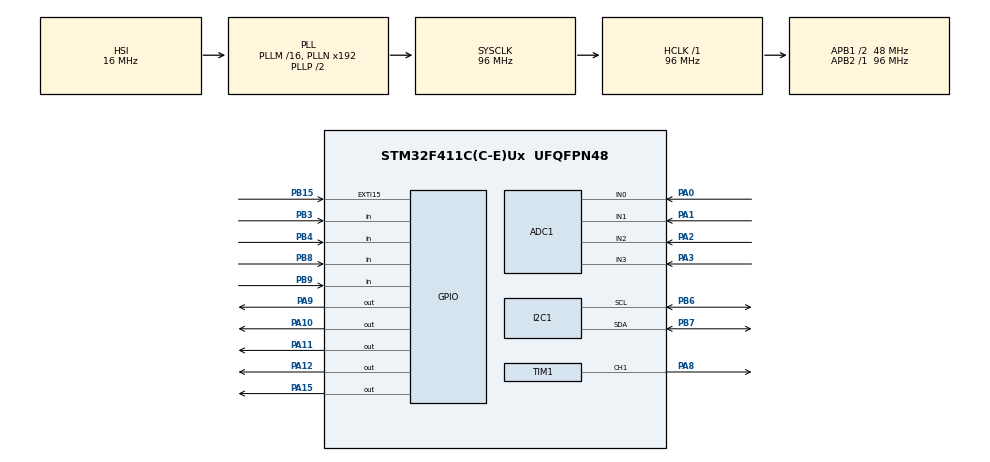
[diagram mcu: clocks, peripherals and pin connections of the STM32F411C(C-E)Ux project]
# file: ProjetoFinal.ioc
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ADC1.Channel-0\#ChannelRegularConversion=ADC_CHANNEL_0
ADC1.NbrOfConversionFlag=1
ADC1.Rank-0\#ChannelRegularConversion=1
ADC1.SamplingTime-0\#ChannelRegularConversion=ADC_SAMPLETIME_3CYCLES
ADC1.master=1
I2C1.I2C_Mode=I2C_Fast
Mcu.Family=STM32F4
Mcu.Name=STM32F411C(C-E)Ux
Mcu.Package=UFQFPN48
NVIC.EXTI15_10_IRQn=true\:0\:0\:false\:false\:true\:true\:true\:true
NVIC.PriorityGroup=NVIC_PRIORITYGROUP_4
NVIC.TIM2_IRQn=true\:0\:0\:false\:false\:true\:true\:true\:true
NVIC.TIM3_IRQn=true\:0\:0\:false\:false\:true\:true\:true\:true
NVIC.TIM4_IRQn=true\:0\:0\:false\:false\:true\:true\:true\:true
PA0-WKUP.Signal=ADCx_IN0
PA1.Signal=ADCx_IN1
PA10.Signal=GPIO_Output
PA11.Signal=GPIO_Output
PA12.Signal=GPIO_Output
PA13.Mode=Serial_Wire
PA13.Signal=SYS_JTMS-SWDIO
PA14.Mode=Serial_Wire
PA14.Signal=SYS_JTCK-SWCLK
PA15.GPIO_PuPd=GPIO_NOPULL
PA15.Signal=GPIO_Output
PA2.Signal=ADCx_IN2
PA3.Signal=ADCx_IN3
PA8.Signal=S_TIM1_CH1
PA9.Signal=GPIO_Output
PB15.GPIO_ModeDefaultEXTI=GPIO_MODE_IT_FALLING
PB15.GPIO_PuPd=GPIO_PULLUP
PB15.Signal=GPXTI15
PB3.Signal=GPIO_Input
PB4.Signal=GPIO_Input
PB6.Mode=I2C
PB6.Signal=I2C1_SCL
PB7.Mode=I2C
PB7.Signal=I2C1_SDA
PB8.Signal=GPIO_Input
PB9.Signal=GPIO_Input
PC14-OSC32_IN.Mode=LSE-External-Oscillator
PC14-OSC32_IN.Signal=RCC_OSC32_IN
PC15-OSC32_OUT.Mode=LSE-External-Oscillator
PC15-OSC32_OUT.Signal=RCC_OSC32_OUT
PH0\ -\ OSC_IN.Mode=HSE-External-Oscillator
PH0\ -\ OSC_IN.Signal=RCC_OSC_IN
PH1\ -\ OSC_OUT.Mode=HSE-External-Oscillator
PH1\ -\ OSC_OUT.Signal=RCC_OSC_OUT
ProjectManager.HeapSize=0x200
ProjectManager.StackSize=0x400
ProjectManager.TargetToolchain=STM32CubeIDE
RCC.AHBFreq_Value=96000000
RCC.APB1CLKDivider=RCC_HCLK_DIV2
RCC.APB1Freq_Value=48000000
RCC.APB1TimFreq_Value=96000000
RCC.APB2Freq_Value=96000000
RCC.APB2TimFreq_Value=96000000
RCC.CortexFreq_Value=96000000
RCC.HCLKFreq_Value=96000000
RCC.HSE_VALUE=25000000
RCC.HSI_VALUE=16000000
RCC.SYSCLKFreq_VALUE=96000000
RCC.SYSCLKSource=RCC_SYSCLKSOURCE_PLLCLK
RCC.VCOOutputFreq_Value=192000000
SH.ADCx_IN0.0=ADC1_IN0,IN0
SH.ADCx_IN1.0=ADC1_IN1,IN1
SH.ADCx_IN2.0=ADC1_IN2,IN2
SH.ADCx_IN3.0=ADC1_IN3,IN3
SH.S_TIM1_CH1.0=TIM1_CH1,PWM Generation1 CH1
TIM1.Channel-PWM\ Generation1\ CH1=TIM_CHANNEL_1
TIM1.Period=4570
TIM1.Pulse-PWM\ Generation1\ CH1=1830
TIM2.Period=20000-1
TIM2.Prescaler=9600-1
TIM3.Period=5000-1
TIM3.Prescaler=9600-1
TIM4.Period=1000-1
TIM4.Prescaler=9600-1
VP_TIM1_VS_ClockSourceINT.Mode=Internal
VP_TIM2_VS_ClockSourceINT.Mode=Internal
VP_TIM3_VS_ClockSourceINT.Mode=Internal
VP_TIM4_VS_ClockSourceINT.Mode=Internal
board=custom

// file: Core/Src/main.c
/* USER CODE BEGIN Header */
/**
  ******************************************************************************
  * @file           : main.c
  * @brief          : Main program body
  ******************************************************************************
  * @attention
  *
  * Copyright (c) 2025 STMicroelectronics.
  * All rights reserved.
  *
  * This software is licensed under terms that can be found in the LICENSE file
  * in the root directory of this software component.
  * If no LICENSE file comes with this software, it is provided AS-IS.
  *
  ******************************************************************************
  */
/* USER CODE END Header */
#include "main.h"

/* USER CODE BEGIN Includes */
#include "liquidcrystal_i2c.h"
#include <stdio.h>
#include <math.h>
/* USER CODE END Includes */

/* USER CODE BEGIN PD */
#define RESISTENCIA_CARGA_OHMS  270

// Limites de Proteção de Tensão (ANSI 27/59)
#define LIMITE_SUBTENSAO    380 // kV
#define LIMITE_SOBRETENSAO  630 // kV

#define ESTADO_DISJUNTOR_FECHADO 1
#define ESTADO_DISJUNTOR_ABERTO  0

// Máquina de Estados (Telas)
#define TELA_MENU        0
#define TELA_ELETRICA    1
#define TELA_CUBICULO    2
#define TELA_TEMP        3
#define TELA_GAS         4
#define TELA_POTENCIA    5
#define TELA_ALERTA      6
/* USER CODE END PD */

ADC_HandleTypeDef hadc1;

I2C_HandleTypeDef hi2c1;

TIM_HandleTypeDef htim1;
TIM_HandleTypeDef htim2;
TIM_HandleTypeDef htim3;
TIM_HandleTypeDef htim4;

/* USER CODE BEGIN PV */
// --- Variáveis de Leitura Crua (ADC) ---
uint32_t raw_gas = 0;
uint32_t raw_umidade = 0;
uint32_t raw_temp_amb = 0;
uint32_t raw_tensao = 0;

// --- Variáveis Convertidas (Grandezas Físicas) ---
uint32_t nivel_gas = 0;       // 0-100%
uint32_t umidade_cub = 0;     // 0-100%
uint32_t tensao_fase = 0;     // kV
uint32_t tensao_linha = 0;    // kV
uint32_t corrente_linha = 0;  // A
uint32_t temperatura_ambiente = 25; //ºC
uint32_t fator_potencia = 92;
uint32_t temperatura_trans = 0; //ºC

// --- Variáveis de Potência ---
uint32_t potencia_aparente = 0; // kVA
uint32_t potencia_ativa = 0;    // kW
uint32_t potencia_reativa = 0;  // kVAr

// --- Variáveis de Controle e Estado ---
uint32_t temperatura_alvo = 0;
uint32_t intensidade_aquecedor = 0;
uint32_t tempo_anterior_led = 0;

uint8_t estado_reserva = 0; // 0 = Normal, 1 = Reserva (Falha Trafo)
uint8_t timer_rodando = 0;
uint8_t pode_rearmar = 1;
uint8_t status_disjuntor = ESTADO_DISJUNTOR_FECHADO;
uint8_t status_tensao = 0; // 0=OK, 1=Sub, 2=Sobre

// --- Variáveis de Interface (LCD/Botões) ---
char lcd_buffer[16];
char buffer_temp[16]; // Buffer auxiliar para LCD
uint32_t timer_lcd = 0;
uint8_t flag_atualizar_lcd = 0;

int8_t menu_index = 0;
uint8_t tela_atual = TELA_MENU;
uint8_t flag_atualizar_tela = 1;

// Textos do Menu Principal
char textos_menu[5][17] = {
    "1. Eletrica     ",
    "2. Cubiculo     ",
    "3. Temperatura  ",
    "4. Gas          ",
    "5. Potencias     "
};

/* USER CODE END PV */

void SystemClock_Config(void);
static void MX_GPIO_Init(void);
static void MX_ADC1_Init(void);
static void MX_I2C1_Init(void);
static void MX_TIM1_Init(void);
static void MX_TIM2_Init(void);
static void MX_TIM3_Init(void);
static void MX_TIM4_Init(void);
/* USER CODE BEGIN PFP */
uint32_t Ler_ADC_Canal(uint32_t canal);
uint32_t Calcular_Corrente_Estrela(uint32_t tensao_kV);
/* USER CODE END PFP */

int main(void)
{

  /* MCU Configuration--------------------------------------------------------*/

  /* Reset of all peripherals, Initializes the Flash interface and the Systick. */
  HAL_Init();

  /* Configure the system clock */
  SystemClock_Config();

  /* Initialize all configured peripherals */
  MX_GPIO_Init();
  MX_ADC1_Init();
  MX_I2C1_Init();
  MX_TIM1_Init();
  MX_TIM2_Init();
  MX_TIM3_Init();
  MX_TIM4_Init();
  /* USER CODE BEGIN 2 */
  // Inicialização de Pinos de Estado
    HAL_GPIO_WritePin(GPIOA, GPIO_PIN_11, GPIO_PIN_SET);   // A11 Ligado (Normal)
    HAL_GPIO_WritePin(GPIOA, GPIO_PIN_10, GPIO_PIN_RESET); // A10 Desligado (Reserva)
    estado_reserva = 0;

    // Inicialização do Disjuntor (PA9)
    HAL_GPIO_WritePin(GPIOA, GPIO_PIN_9, GPIO_PIN_SET); // LED Aceso = Fechado
    status_disjuntor = ESTADO_DISJUNTOR_FECHADO;

    // Inicialização de Timers
    HAL_TIM_PWM_Start(&htim1, TIM_CHANNEL_1);
    HAL_TIM_Base_Start_IT(&htim3);
    MX_TIM4_Init();
    HAL_TIM_Base_Start_IT(&htim4);

    // Inicialização do LCD
    HD44780_Init(2);
    HD44780_Clear();
  /* USER CODE END 2 */

  /* Infinite loop */
  /* USER CODE BEGIN WHILE */
  while (1)
  {
	  // BLOCO 1: LEITURA DE SENSORES (ADC)
	        // Leitura de Gás
	        raw_gas = Ler_ADC_Canal(ADC_CHANNEL_0);
	        if (raw_gas < 30) raw_gas = 30;

	        // Leitura de Umidade
	        raw_umidade = Ler_ADC_Canal(ADC_CHANNEL_1);
	        if (raw_umidade < 30) raw_umidade = 30;

	        // Leitura de Fator de Potência (Simulado)
	        raw_temp_amb = Ler_ADC_Canal(ADC_CHANNEL_2);
	        if (raw_temp_amb < 30) raw_temp_amb = 30;

	        // Leitura de Tensão (Simulação de TP)
	        raw_tensao = Ler_ADC_Canal(ADC_CHANNEL_3);
	        if (raw_tensao < 30) raw_tensao = 30;

	        HAL_Delay(10); // Estabilização do ADC

	  // BLOCO 2: CONVERSÃO DE GRANDEZAS E CÁLCULOS MATEMÁTICOS
	        // Conversões Lineares (Reta)
	        nivel_gas = ((raw_gas - 30) * 100) / 4030;
	        umidade_cub = ((raw_umidade - 30) * 100) / 4030;
	        temperatura_ambiente = (((raw_temp_amb - 30) * 55) / 4030) + 10;

	        // Cálculos do Sistema Elétrico
	        tensao_fase = (((raw_tensao - 30) * 362) / 4030) + 80; // 80 a 442 kV
	        tensao_linha = (tensao_fase * 1732) / 1000;            // kV
	        corrente_linha = Calcular_Corrente_Estrela(tensao_fase); // A

	        // Modelo Térmico (Imagem Térmica do Trafo)
	        temperatura_alvo = (temperatura_ambiente * 2/3) + (corrente_linha/20);
	        if (temperatura_alvo > 150) temperatura_alvo = 150;

	        // Triângulo de Potências
	        uint64_t s_calc = (uint64_t)tensao_linha * corrente_linha * 1732;
	        potencia_aparente = (uint32_t)(s_calc / 1000000); // MVA

	        potencia_ativa = (potencia_aparente * fator_potencia) / 100; // MW

	        double s_sq = (double)potencia_aparente * (double)potencia_aparente;
	        double p_sq = (double)potencia_ativa * (double)potencia_ativa;
	        if (p_sq > s_sq) p_sq = s_sq;
	        potencia_reativa = (uint32_t)sqrt(s_sq - p_sq); // MVAr

	        // Cálculo de Controle do Aquecedor (PWM)
	        if (umidade_cub <= 30) intensidade_aquecedor = 0;
	        else intensidade_aquecedor = (((umidade_cub - 30) * 100) / 70);

	  // BLOCO 3: LÓGICA DE PROTEÇÃO (MONITORAMENTO)

	        // Monitoramento de Tensão (ANSI 27/59)
	        if (tensao_linha < LIMITE_SUBTENSAO) status_tensao = 1;      // Subtensão
	        else if (tensao_linha > LIMITE_SOBRETENSAO) status_tensao = 2; // Sobretensão
	        else status_tensao = 0;                                      // Normal

	        // Lógica de Falha no Transformador (Gerenciada pelo TIM2 e Interrupt)
	        if (estado_reserva == 0)
	        {
	        if (temperatura_trans > 93 || status_tensao != 0) {
	               if (timer_rodando == 0) {
	                      HAL_TIM_Base_Start_IT(&htim2);
	                      timer_rodando = 1;
	                  }
	               } else {
	               if (timer_rodando == 1) {
	                     HAL_TIM_Base_Stop_IT(&htim2);
	                   __HAL_TIM_SET_COUNTER(&htim2, 0);
	                     timer_rodando = 0;
	                }
	              }
	            }
	              else // Estado Reserva
	              {
	            if (temperatura_trans < 93 && status_tensao == 0) {
	                if (pode_rearmar == 0 && timer_rodando == 0) {
	                HAL_TIM_Base_Start_IT(&htim2);
	                timer_rodando = 1;
	                 }
	               } else {
	               if (timer_rodando == 1) {
	               HAL_TIM_Base_Stop_IT(&htim2);
	             __HAL_TIM_SET_COUNTER(&htim2, 0);
	               timer_rodando = 0;
	               }
	               pode_rearmar = 0;
	             }
	        }

	        //Alarme de alerta para subcorrente ou sobrecorrente
	        if(corrente_linha < 812 || corrente_linha > 1347){
	        	uint32_t tempo_atual = HAL_GetTick();
	        	if ((tempo_atual - tempo_anterior_led) >= 250)
	        	{
	        		HAL_GPIO_TogglePin(GPIOA, GPIO_PIN_12);
	        		tempo_anterior_led = tempo_atual;
	        	}
	        	}else if(corrente_linha < 962 || corrente_linha > 1176){
	        		HAL_GPIO_WritePin(GPIOA, GPIO_PIN_12, GPIO_PIN_SET);
	        }else
	          {
	           HAL_GPIO_WritePin(GPIOA, GPIO_PIN_12, GPIO_PIN_RESET);
	        }

	  // BLOCO 4: CONTROLE DO DISJUNTOR (ANSI 52)

	      // Lógica de Trip (Abertura)
	        if (estado_reserva == 1)
	              {
	                  if (status_disjuntor == ESTADO_DISJUNTOR_FECHADO)
	                  {
	                      HAL_GPIO_WritePin(GPIOA, GPIO_PIN_9, GPIO_PIN_RESET);
	                      status_disjuntor = ESTADO_DISJUNTOR_ABERTO;
	                      // Zera as correntes e potências (Corte de energia)
	                      corrente_linha = 0;
	                      potencia_aparente = 0;
	                      potencia_ativa = 0;
	                      potencia_reativa = 0;
	                  }}
	      // Lógica de Close (Fechamento/Rearme)
	        if (pode_rearmar == 1 && status_tensao == 0)
	              {
	                   // Verifica Botão de Rearme (PB3)
	                   if (!HAL_GPIO_ReadPin(GPIOB, GPIO_PIN_3))
	                   {
	                        estado_reserva = 0;
	                        HAL_GPIO_WritePin(GPIOA, GPIO_PIN_10, GPIO_PIN_RESET);
	                        HAL_GPIO_WritePin(GPIOA, GPIO_PIN_11, GPIO_PIN_SET);
	                        HAL_GPIO_WritePin(GPIOA, GPIO_PIN_9, GPIO_PIN_SET);
	                        status_disjuntor = ESTADO_DISJUNTOR_FECHADO;
	                        HAL_Delay(500);
	                   }}

	      // Força medidas a zero se disjuntor estiver aberto
	       if (status_disjuntor == ESTADO_DISJUNTOR_ABERTO)
	      {
	      corrente_linha = 0;
	      }

	  // BLOCO 5: INTERFACE HOMEM-MÁQUINA (IHM/BOTÕES)

	      // Transição Automática de Tela em Caso de Emergência
	      if (estado_reserva == 1 && tela_atual != TELA_ALERTA){
	       tela_atual = TELA_ALERTA;
	       flag_atualizar_tela = 1;	      }
	       else if (estado_reserva == 0 && tela_atual == TELA_ALERTA){
	       tela_atual = TELA_MENU;
	       flag_atualizar_tela = 1;	      }

	       // Navegação Manual (B4 - Próximo)
	       if (!HAL_GPIO_ReadPin(GPIOB, GPIO_PIN_4)){
	       if (tela_atual == TELA_MENU){
	        menu_index++;
	        if (menu_index > 4) menu_index = 0;
	        flag_atualizar_tela = 1;	        }
	         HAL_Delay(200);	        }

	       // Confirmação (B8 - Entrar)
	       if (!HAL_GPIO_ReadPin(GPIOB, GPIO_PIN_8)){
	       if (tela_atual == TELA_MENU){
	       tela_atual = menu_index + 1;
	       flag_atualizar_tela = 1;	       }
	       HAL_Delay(200);	       }

	       // Retorno (B9 - Voltar)
	       if (!HAL_GPIO_ReadPin(GPIOB, GPIO_PIN_9)){
	       if (tela_atual != TELA_MENU && tela_atual != TELA_ALERTA){
	        tela_atual = TELA_MENU;
	        flag_atualizar_tela = 1;	       }
	       HAL_Delay(200);	      }

	  // BLOCO 6: ATUALIZAÇÃO DO DISPLAY LCD

	       if (flag_atualizar_tela == 1 || (flag_atualizar_lcd == 1 && tela_atual != TELA_MENU))
	             {
	                 if (flag_atualizar_tela == 1) HD44780_Clear();

	                 switch (tela_atual)
	                 {
	                     // --- TELA 0: MENU PRINCIPAL ---
	                     case TELA_MENU:
	                          HD44780_SetCursor(0,0);
	                          HD44780_PrintStr("MENU PRINCIPAL: ");
	                          HD44780_SetCursor(0,1);
	                          HD44780_PrintStr(textos_menu[menu_index]);
	                          break;

	                     // --- TELA 1: ELÉTRICA (V e I) ---
	                     case TELA_ELETRICA:
	                          // Prioridade 1: Disjuntor Aberto (TRIP)
	                          if (status_disjuntor == ESTADO_DISJUNTOR_ABERTO)
	                          {
	                              HD44780_SetCursor(0,0);
	                              HD44780_PrintStr("STATUS: TRIP !!!");
	                              HD44780_SetCursor(0,1);
	                              HD44780_PrintStr("DISJUNTOR ABERTO");
	                          }
	                          // Prioridade 2: Erro de Tensão (Sub/Sobretensão)
	                          else if (status_tensao != 0)
	                          {
	                              HD44780_SetCursor(0,0);
	                              HD44780_PrintStr("FALHA TENSAO !  ");
	                              HD44780_SetCursor(0,1);
	                              if(status_tensao == 1) HD44780_PrintStr("SUB-TENSAO      ");
	                              else HD44780_PrintStr("SOBRE-TENSAO    ");
	                          }
	                          // Prioridade 3: Sistema Normal (Mostra V e I fixos)
	                          else
	                          {
	                              sprintf(lcd_buffer, "V:%lukV I:%luA  ", tensao_linha, corrente_linha);
	                              HD44780_SetCursor(0,0);
	                              HD44780_PrintStr("MONIT. ELETRICA ");
	                              HD44780_SetCursor(0,1);
	                              HD44780_PrintStr(lcd_buffer);
	                          }
	                          break;

	                     // --- TELA 2: CUBÍCULO (Umidade + Aquecedor) ---
	                     case TELA_CUBICULO:
	                          sprintf(lcd_buffer, "Umid:%lu%% Pot:%lu%%", umidade_cub, intensidade_aquecedor);
	                          HD44780_SetCursor(0,0);
	                          HD44780_PrintStr("MONIT. CUBICULO ");
	                          HD44780_SetCursor(0,1);
	                          HD44780_PrintStr(lcd_buffer);
	                          break;

	                     // --- TELA 3: TEMPERATURA ---
	                     case TELA_TEMP:
	                          sprintf(lcd_buffer, "Temp T: %lu C    ", temperatura_trans);
	                          HD44780_SetCursor(0,0);
	                          HD44780_PrintStr(lcd_buffer);
	                          HD44780_SetCursor(0,1);
	                          if(estado_reserva == 0) HD44780_PrintStr("Status: NORMAL  ");
	                          else HD44780_PrintStr("Status: RESERVA ");
	                          break;

	                     // --- TELA 4: GÁS SF6 ---
	                     case TELA_GAS:
	                          sprintf(lcd_buffer, "Nivel: %lu %%     ", nivel_gas);
	                          HD44780_SetCursor(0,0);
	                          HD44780_PrintStr("MONIT. GAS SF6  ");
	                          HD44780_SetCursor(0,1);
	                          HD44780_PrintStr(lcd_buffer);
	                          break;

	                     // --- TELA 5: POTÊNCIAS ---
	                     case TELA_POTENCIA:
	                          sprintf(lcd_buffer, "P:%luM Q:%luM   ", potencia_ativa, potencia_reativa);
	                          HD44780_SetCursor(0,0);
	                          HD44780_PrintStr(lcd_buffer);

	                          sprintf(lcd_buffer, "S:%luMVA FP:%lu ", potencia_aparente, fator_potencia);
	                          HD44780_SetCursor(0,1);
	                          HD44780_PrintStr(lcd_buffer);
	                          break;

	                     // --- TELA 6: ALERTA CRÍTICO ---
	                     case TELA_ALERTA:
	                          HD44780_SetCursor(0,0);
	                          HD44780_PrintStr("! FALHA TRAFO ! ");
	                          HD44780_SetCursor(0,1);
	                          HD44780_PrintStr("OPERANDO RESERVA");
	                          break;
	                 }

	                 flag_atualizar_tela = 0;
	                 flag_atualizar_lcd = 0;
	             }

	 // BLOCO 7: ATUAÇÃO DE SAÍDAS AUXILIARES

	      // Controle de LEDs de Alerta de Gás
	      if(nivel_gas < 10)
	      {
	      uint32_t tempo_atual = HAL_GetTick();
	      if ((tempo_atual - tempo_anterior_led) >= 250)
	      {
	      HAL_GPIO_TogglePin(GPIOA, GPIO_PIN_15);
	      tempo_anterior_led = tempo_atual;
	      }
	      } else if(nivel_gas < 25)
	      {
	      HAL_GPIO_WritePin(GPIOA, GPIO_PIN_15, GPIO_PIN_SET);
	      } else
	             {
	                 HAL_GPIO_WritePin(GPIOA, GPIO_PIN_15, GPIO_PIN_RESET);
	             }

	       // Controle do Aquecedor (PWM)
	       if(umidade_cub > 30)
	       {
	        htim1.Instance->CCR1 = (htim1.Instance->ARR*intensidade_aquecedor)/100;
	        }
	        else
	       {
	        htim1.Instance->CCR1 = 0;
	       }

    /* USER CODE END WHILE */

  }
}

void SystemClock_Config(void)
{
  RCC_OscInitTypeDef RCC_OscInitStruct = {0};
  RCC_ClkInitTypeDef RCC_ClkInitStruct = {0};

  /** Configure the main internal regulator output voltage
  */
  __HAL_RCC_PWR_CLK_ENABLE();
  __HAL_PWR_VOLTAGESCALING_CONFIG(PWR_REGULATOR_VOLTAGE_SCALE1);

  /** Initializes the RCC Oscillators according to the specified parameters
  * in the RCC_OscInitTypeDef structure.
  */
  RCC_OscInitStruct.OscillatorType = RCC_OSCILLATORTYPE_HSI;
  RCC_OscInitStruct.HSIState = RCC_HSI_ON;
  RCC_OscInitStruct.HSICalibrationValue = RCC_HSICALIBRATION_DEFAULT;
  RCC_OscInitStruct.PLL.PLLState = RCC_PLL_ON;
  RCC_OscInitStruct.PLL.PLLSource = RCC_PLLSOURCE_HSI;
  RCC_OscInitStruct.PLL.PLLM = 16;
  RCC_OscInitStruct.PLL.PLLN = 192;
  RCC_OscInitStruct.PLL.PLLP = RCC_PLLP_DIV2;
  RCC_OscInitStruct.PLL.PLLQ = 4;
  if (HAL_RCC_OscConfig(&RCC_OscInitStruct) != HAL_OK)
  {
    Error_Handler();
  }

  /** Initializes the CPU, AHB and APB buses clocks
  */
  RCC_ClkInitStruct.ClockType = RCC_CLOCKTYPE_HCLK|RCC_CLOCKTYPE_SYSCLK
                              |RCC_CLOCKTYPE_PCLK1|RCC_CLOCKTYPE_PCLK2;
  RCC_ClkInitStruct.SYSCLKSource = RCC_SYSCLKSOURCE_PLLCLK;
  RCC_ClkInitStruct.AHBCLKDivider = RCC_SYSCLK_DIV1;
  RCC_ClkInitStruct.APB1CLKDivider = RCC_HCLK_DIV2;
  RCC_ClkInitStruct.APB2CLKDivider = RCC_HCLK_DIV1;

  if (HAL_RCC_ClockConfig(&RCC_ClkInitStruct, FLASH_LATENCY_3) != HAL_OK)
  {
    Error_Handler();
  }
}

static void MX_ADC1_Init(void)
{

  ADC_ChannelConfTypeDef sConfig = {0};

  /** Configure the global features of the ADC (Clock, Resolution, Data Alignment and number of conversion)
  */
  hadc1.Instance = ADC1;
  hadc1.Init.ClockPrescaler = ADC_CLOCK_SYNC_PCLK_DIV4;
  hadc1.Init.Resolution = ADC_RESOLUTION_12B;
  hadc1.Init.ScanConvMode = DISABLE;
  hadc1.Init.ContinuousConvMode = DISABLE;
  hadc1.Init.DiscontinuousConvMode = DISABLE;
  hadc1.Init.ExternalTrigConvEdge = ADC_EXTERNALTRIGCONVEDGE_NONE;
  hadc1.Init.ExternalTrigConv = ADC_SOFTWARE_START;
  hadc1.Init.DataAlign = ADC_DATAALIGN_RIGHT;
  hadc1.Init.NbrOfConversion = 1;
  hadc1.Init.DMAContinuousRequests = DISABLE;
  hadc1.Init.EOCSelection = ADC_EOC_SINGLE_CONV;
  if (HAL_ADC_Init(&hadc1) != HAL_OK)
  {
    Error_Handler();
  }

  /** Configure for the selected ADC regular channel its corresponding rank in the sequencer and its sample time.
  */
  sConfig.Channel = ADC_CHANNEL_0;
  sConfig.Rank = 1;
  sConfig.SamplingTime = ADC_SAMPLETIME_3CYCLES;
  if (HAL_ADC_ConfigChannel(&hadc1, &sConfig) != HAL_OK)
  {
    Error_Handler();
  }

}

static void MX_I2C1_Init(void)
{

  hi2c1.Instance = I2C1;
  hi2c1.Init.ClockSpeed = 400000;
  hi2c1.Init.DutyCycle = I2C_DUTYCYCLE_2;
  hi2c1.Init.OwnAddress1 = 0;
  hi2c1.Init.AddressingMode = I2C_ADDRESSINGMODE_7BIT;
  hi2c1.Init.DualAddressMode = I2C_DUALADDRESS_DISABLE;
  hi2c1.Init.OwnAddress2 = 0;
  hi2c1.Init.GeneralCallMode = I2C_GENERALCALL_DISABLE;
  hi2c1.Init.NoStretchMode = I2C_NOSTRETCH_DISABLE;
  if (HAL_I2C_Init(&hi2c1) != HAL_OK)
  {
    Error_Handler();
  }

}

static void MX_TIM1_Init(void)
{

  TIM_ClockConfigTypeDef sClockSourceConfig = {0};
  TIM_MasterConfigTypeDef sMasterConfig = {0};
  TIM_OC_InitTypeDef sConfigOC = {0};
  TIM_BreakDeadTimeConfigTypeDef sBreakDeadTimeConfig = {0};

  htim1.Instance = TIM1;
  htim1.Init.Prescaler = 0;
  htim1.Init.CounterMode = TIM_COUNTERMODE_UP;
  htim1.Init.Period = 4570;
  htim1.Init.ClockDivision = TIM_CLOCKDIVISION_DIV1;
  htim1.Init.RepetitionCounter = 0;
  htim1.Init.AutoReloadPreload = TIM_AUTORELOAD_PRELOAD_DISABLE;
  if (HAL_TIM_Base_Init(&htim1) != HAL_OK)
  {
    Error_Handler();
  }
  sClockSourceConfig.ClockSource = TIM_CLOCKSOURCE_INTERNAL;
  if (HAL_TIM_ConfigClockSource(&htim1, &sClockSourceConfig) != HAL_OK)
  {
    Error_Handler();
  }
  if (HAL_TIM_PWM_Init(&htim1) != HAL_OK)
  {
    Error_Handler();
  }
  sMasterConfig.MasterOutputTrigger = TIM_TRGO_RESET;
  sMasterConfig.MasterSlaveMode = TIM_MASTERSLAVEMODE_DISABLE;
  if (HAL_TIMEx_MasterConfigSynchronization(&htim1, &sMasterConfig) != HAL_OK)
  {
    Error_Handler();
  }
  sConfigOC.OCMode = TIM_OCMODE_PWM1;
  sConfigOC.Pulse = 1830;
  sConfigOC.OCPolarity = TIM_OCPOLARITY_HIGH;
  sConfigOC.OCNPolarity = TIM_OCNPOLARITY_HIGH;
  sConfigOC.OCFastMode = TIM_OCFAST_DISABLE;
  sConfigOC.OCIdleState = TIM_OCIDLESTATE_RESET;
  sConfigOC.OCNIdleState = TIM_OCNIDLESTATE_RESET;
  if (HAL_TIM_PWM_ConfigChannel(&htim1, &sConfigOC, TIM_CHANNEL_1) != HAL_OK)
  {
    Error_Handler();
  }
  sBreakDeadTimeConfig.OffStateRunMode = TIM_OSSR_DISABLE;
  sBreakDeadTimeConfig.OffStateIDLEMode = TIM_OSSI_DISABLE;
  sBreakDeadTimeConfig.LockLevel = TIM_LOCKLEVEL_OFF;
  sBreakDeadTimeConfig.DeadTime = 0;
  sBreakDeadTimeConfig.BreakState = TIM_BREAK_DISABLE;
  sBreakDeadTimeConfig.BreakPolarity = TIM_BREAKPOLARITY_HIGH;
  sBreakDeadTimeConfig.AutomaticOutput = TIM_AUTOMATICOUTPUT_DISABLE;
  if (HAL_TIMEx_ConfigBreakDeadTime(&htim1, &sBreakDeadTimeConfig) != HAL_OK)
  {
    Error_Handler();
  }
  HAL_TIM_MspPostInit(&htim1);

}

static void MX_TIM2_Init(void)
{

  TIM_ClockConfigTypeDef sClockSourceConfig = {0};
  TIM_MasterConfigTypeDef sMasterConfig = {0};

  htim2.Instance = TIM2;
  htim2.Init.Prescaler = 9600-1;
  htim2.Init.CounterMode = TIM_COUNTERMODE_UP;
  htim2.Init.Period = 20000-1;
  htim2.Init.ClockDivision = TIM_CLOCKDIVISION_DIV1;
  htim2.Init.AutoReloadPreload = TIM_AUTORELOAD_PRELOAD_DISABLE;
  if (HAL_TIM_Base_Init(&htim2) != HAL_OK)
  {
    Error_Handler();
  }
  sClockSourceConfig.ClockSource = TIM_CLOCKSOURCE_INTERNAL;
  if (HAL_TIM_ConfigClockSource(&htim2, &sClockSourceConfig) != HAL_OK)
  {
    Error_Handler();
  }
  sMasterConfig.MasterOutputTrigger = TIM_TRGO_RESET;
  sMasterConfig.MasterSlaveMode = TIM_MASTERSLAVEMODE_DISABLE;
  if (HAL_TIMEx_MasterConfigSynchronization(&htim2, &sMasterConfig) != HAL_OK)
  {
    Error_Handler();
  }

}

static void MX_TIM3_Init(void)
{

  TIM_ClockConfigTypeDef sClockSourceConfig = {0};
  TIM_MasterConfigTypeDef sMasterConfig = {0};

  htim3.Instance = TIM3;
  htim3.Init.Prescaler = 9600-1;
  htim3.Init.CounterMode = TIM_COUNTERMODE_UP;
  htim3.Init.Period = 5000-1;
  htim3.Init.ClockDivision = TIM_CLOCKDIVISION_DIV1;
  htim3.Init.AutoReloadPreload = TIM_AUTORELOAD_PRELOAD_DISABLE;
  if (HAL_TIM_Base_Init(&htim3) != HAL_OK)
  {
    Error_Handler();
  }
  sClockSourceConfig.ClockSource = TIM_CLOCKSOURCE_INTERNAL;
  if (HAL_TIM_ConfigClockSource(&htim3, &sClockSourceConfig) != HAL_OK)
  {
    Error_Handler();
  }
  sMasterConfig.MasterOutputTrigger = TIM_TRGO_RESET;
  sMasterConfig.MasterSlaveMode = TIM_MASTERSLAVEMODE_DISABLE;
  if (HAL_TIMEx_MasterConfigSynchronization(&htim3, &sMasterConfig) != HAL_OK)
  {
    Error_Handler();
  }

}

static void MX_TIM4_Init(void)
{

  TIM_ClockConfigTypeDef sClockSourceConfig = {0};
  TIM_MasterConfigTypeDef sMasterConfig = {0};

  htim4.Instance = TIM4;
  htim4.Init.Prescaler = 9600-1;
  htim4.Init.CounterMode = TIM_COUNTERMODE_UP;
  htim4.Init.Period = 1000-1;
  htim4.Init.ClockDivision = TIM_CLOCKDIVISION_DIV1;
  htim4.Init.AutoReloadPreload = TIM_AUTORELOAD_PRELOAD_DISABLE;
  if (HAL_TIM_Base_Init(&htim4) != HAL_OK)
  {
    Error_Handler();
  }
  sClockSourceConfig.ClockSource = TIM_CLOCKSOURCE_INTERNAL;
  if (HAL_TIM_ConfigClockSource(&htim4, &sClockSourceConfig) != HAL_OK)
  {
    Error_Handler();
  }
  sMasterConfig.MasterOutputTrigger = TIM_TRGO_RESET;
  sMasterConfig.MasterSlaveMode = TIM_MASTERSLAVEMODE_DISABLE;
  if (HAL_TIMEx_MasterConfigSynchronization(&htim4, &sMasterConfig) != HAL_OK)
  {
    Error_Handler();
  }

}

static void MX_GPIO_Init(void)
{
  GPIO_InitTypeDef GPIO_InitStruct = {0};

  /* GPIO Ports Clock Enable */
  __HAL_RCC_GPIOC_CLK_ENABLE();
  __HAL_RCC_GPIOH_CLK_ENABLE();
  __HAL_RCC_GPIOA_CLK_ENABLE();
  __HAL_RCC_GPIOB_CLK_ENABLE();

  /*Configure GPIO pin Output Level */
  HAL_GPIO_WritePin(GPIOA, GPIO_PIN_9|GPIO_PIN_10|GPIO_PIN_11|GPIO_PIN_12
                          |GPIO_PIN_15, GPIO_PIN_RESET);

  /*Configure GPIO pin : PB15 */
  GPIO_InitStruct.Pin = GPIO_PIN_15;
  GPIO_InitStruct.Mode = GPIO_MODE_IT_FALLING;
  GPIO_InitStruct.Pull = GPIO_PULLUP;
  HAL_GPIO_Init(GPIOB, &GPIO_InitStruct);

  /*Configure GPIO pins : PA9 PA10 PA11 PA12
                           PA15 */
  GPIO_InitStruct.Pin = GPIO_PIN_9|GPIO_PIN_10|GPIO_PIN_11|GPIO_PIN_12
                          |GPIO_PIN_15;
  GPIO_InitStruct.Mode = GPIO_MODE_OUTPUT_PP;
  GPIO_InitStruct.Pull = GPIO_NOPULL;
  GPIO_InitStruct.Speed = GPIO_SPEED_FREQ_LOW;
  HAL_GPIO_Init(GPIOA, &GPIO_InitStruct);

  /*Configure GPIO pins : PB3 PB4 PB8 PB9 */
  GPIO_InitStruct.Pin = GPIO_PIN_3|GPIO_PIN_4|GPIO_PIN_8|GPIO_PIN_9;
  GPIO_InitStruct.Mode = GPIO_MODE_INPUT;
  GPIO_InitStruct.Pull = GPIO_NOPULL;
  HAL_GPIO_Init(GPIOB, &GPIO_InitStruct);

  /* EXTI interrupt init*/
  HAL_NVIC_SetPriority(EXTI15_10_IRQn, 0, 0);
  HAL_NVIC_EnableIRQ(EXTI15_10_IRQn);

}

/* USER CODE BEGIN 4 */

//FUNÇÃO DE INTERRUPÇÃO

void HAL_GPIO_EXTI_Callback(uint16_t GPIO_Pin)
{
    if (GPIO_Pin == GPIO_PIN_15)
    {
        HAL_GPIO_WritePin(GPIOA, GPIO_PIN_11, GPIO_PIN_RESET);
        HAL_GPIO_WritePin(GPIOA, GPIO_PIN_9, GPIO_PIN_RESET);

        status_disjuntor = ESTADO_DISJUNTOR_ABERTO;
        estado_reserva = 1;
        pode_rearmar = 0;
        corrente_linha = 0;
    }
}

//Função para leitura das variáveis analógicas

uint32_t Ler_ADC_Canal(uint32_t canal)
{
  ADC_ChannelConfTypeDef sConfig = {0};
  uint32_t adc_valor = 0;

  // 1. Configura o Canal do ADC para a leitura atual
  sConfig.Channel = canal;
  sConfig.Rank = 1;
  sConfig.SamplingTime = ADC_SAMPLETIME_15CYCLES; //Tempo de amostragem

  if (HAL_ADC_ConfigChannel(&hadc1, &sConfig) != HAL_OK)
  {
    Error_Handler();
  }

  HAL_ADC_Start(&hadc1);                     //Start do conversor AD
  if (HAL_ADC_PollForConversion(&hadc1, 100) == HAL_OK)
  {
    adc_valor = HAL_ADC_GetValue(&hadc1);    //Realiza a leitura do conversor AD
  }
  HAL_ADC_Stop(&hadc1);                      //Stop do conversor AD

  return adc_valor;
}

//TEMPORIZADORES

void HAL_TIM_PeriodElapsedCallback(TIM_HandleTypeDef *htim)
{
	//FUNÇÃO DE MUDANÇA PARA TRANSFORMADOR RESERVA
    if (htim->Instance == TIM2)
    {
        if (estado_reserva == 0){
            estado_reserva = 1;
            HAL_GPIO_WritePin(GPIOA, GPIO_PIN_11, GPIO_PIN_RESET);
            HAL_GPIO_WritePin(GPIOA, GPIO_PIN_10, GPIO_PIN_SET);
            pode_rearmar = 0;
        }
        // CASO B: Estava na Reserva e a temperatura ficou baixa por 2s
        else{
            pode_rearmar = 1;
        }
        HAL_TIM_Base_Stop_IT(htim);
        timer_rodando = 0;
    }

    //FUNÇÃO DE ATUALIZAÇÃO LCD
    if (htim->Instance == TIM3){
            flag_atualizar_lcd = 1;
        }

    //SIMULAÇÃO FISICA TÉRMICA
    if (htim->Instance == TIM4){
         if (temperatura_trans < temperatura_alvo){
        temperatura_trans++; // Aquecendo
        }
        else if (temperatura_trans > temperatura_alvo){
        temperatura_trans--; // Resfriando (Retornando ao normal)
       }}
}

//Função para cálculo da corrente de linha

uint32_t Calcular_Corrente_Estrela(uint32_t tensao_fase_kV)
{
    // Proteção contra divisão por zero
    if (RESISTENCIA_CARGA_OHMS == 0) return 0;
    // Se a tensão for 0, corrente é 0
    if (tensao_fase_kV == 0) return 0;

    // 1. Converter kV para Volts
    uint32_t tensao_volts = tensao_fase_kV * 1000;

    // 2. Lei de Ohm: I = V_fase / R
    return (tensao_volts / RESISTENCIA_CARGA_OHMS);
}
/* USER CODE END 4 */

void Error_Handler(void)
{
  __disable_irq();
  while (1)
  {
  }
}
